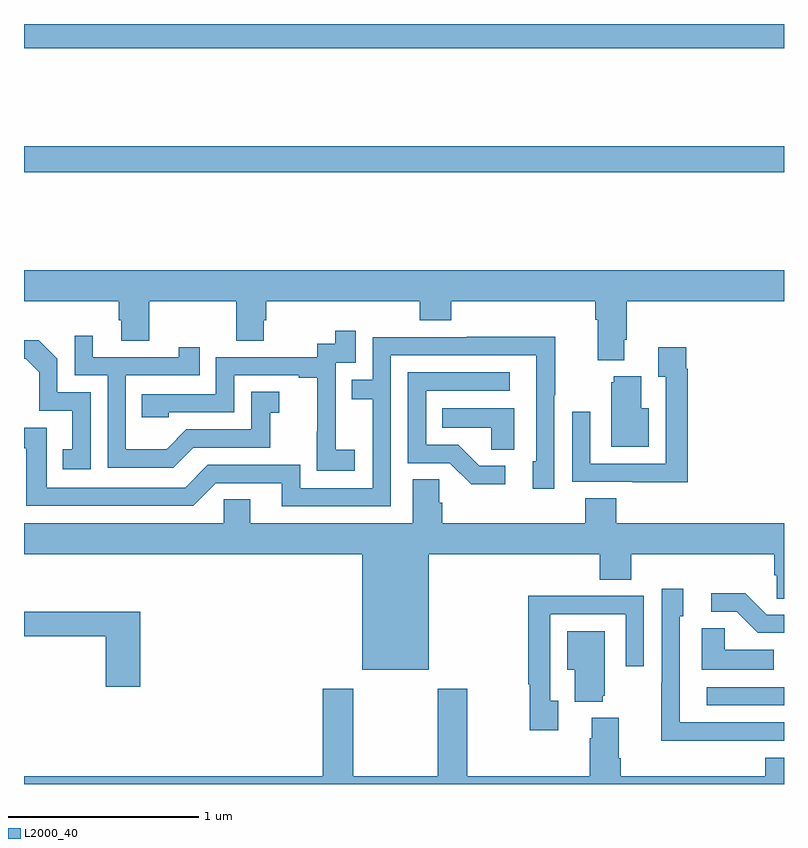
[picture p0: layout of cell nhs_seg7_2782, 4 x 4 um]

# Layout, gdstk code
import gdstk
lib = gdstk.Library(unit=1e-6, precision=1e-09)
def R(c, l, rs):  # rectangles x0, y0, x1, y1
    for r in rs: c.add(gdstk.rectangle(r[:2], r[2:], *l))
def P(c, l, *ps):  # polygons
    for p in ps: c.add(gdstk.Polygon(p, *l))
L2000_40 = (2000, 40)

nhs_seg7_2782 = lib.new_cell('nhs_seg7_2782')
R(nhs_seg7_2782, L2000_40, [(292.593,1074.414,293,1074.51), (289,1077.22,293,1077.356), (289,1077.872,293,1078)])
P(nhs_seg7_2782, L2000_40, [(292.159,1076.338),(292.172,1076.338),(292.172,1076.54),(293,1076.54),(293,1076.704),(289,1076.704),(289,1076.54),(289.499,1076.54),(289.499,1076.442),(289.511,1076.442),(289.511,1076.332),(289.659,1076.332),(289.659,1076.54),(290.116,1076.54),(290.116,1076.332),(290.263,1076.332),(290.263,1076.442),(290.276,1076.442),(290.276,1076.54),(291.083,1076.54),(291.083,1076.441),(291.248,1076.441),(291.248,1076.54),(292.007,1076.54),(292.007,1076.444),(292.019,1076.444),(292.019,1076.231),(292.159,1076.231)],
  [(290.74,1075.759),(290.642,1075.759),(290.642,1075.988),(290.64,1075.988),(290.64,1076.217),(290.745,1076.217),(290.745,1076.386),(290.637,1076.386),(290.637,1076.316),(290.544,1076.316),(290.544,1076.247),(290.01,1076.247),(290.01,1076.052),(289.621,1076.052),(289.621,1075.929),(289.761,1075.929),(289.761,1075.956),(290.106,1075.956),(290.106,1076.151),(290.447,1076.151),(290.447,1076.139),(290.543,1076.139),(290.543,1075.855),(290.542,1075.855),(290.542,1075.649),(290.74,1075.649)],
  [(289.891,1075.77),(290.295,1075.77),(290.295,1075.955),(290.344,1075.955),(290.344,1076.065),(290.196,1076.065),(290.196,1075.866),(289.854,1075.866),(289.75,1075.762),(289.536,1075.762),(289.536,1076.151),(289.925,1076.151),(289.925,1076.299),(289.814,1076.299),(289.814,1076.247),(289.363,1076.247),(289.363,1076.359),(289.266,1076.359),(289.266,1076.151),(289.44,1076.151),(289.44,1075.665),(289.786,1075.665)],
  [(290.931,1076.256),(291.696,1076.256),(291.696,1075.698),(291.677,1075.698),(291.677,1075.554),(291.792,1075.554),(291.792,1076.047),(291.795,1076.047),(291.795,1076.354),(291.331,1076.354),(291.331,1076.352),(290.835,1076.352),(290.835,1076.127),(290.725,1076.127),(290.725,1076.026),(290.835,1076.026),(290.835,1075.557),(290.454,1075.557),(290.454,1075.68),(289.968,1075.68),(289.848,1075.56),(289.119,1075.56),(289.119,1075.875),(289,1075.875),(289,1075.767),(289.011,1075.767),(289.011,1075.464),(289.89,1075.464),(290.01,1075.584),(290.357,1075.584),(290.357,1075.461),(290.931,1075.461)],
  [(289.35,1076.061),(289.176,1076.061),(289.176,1076.238),(289.078,1076.336),(289,1076.336),(289,1076.238),(289.008,1076.238),(289.08,1076.166),(289.08,1075.965),(289.253,1075.965),(289.253,1075.761),(289.204,1075.761),(289.204,1075.656),(289.35,1075.656)],
  [(292.493,1076.186),(292.486,1076.186),(292.486,1076.299),(292.337,1076.299),(292.337,1076.143),(292.377,1076.143),(292.377,1075.686),(291.981,1075.686),(291.981,1075.96),(291.885,1075.96),(291.885,1075.59),(292.201,1075.59),(292.201,1075.589),(292.493,1075.589)],
  [(291.532,1075.674),(291.397,1075.674),(291.286,1075.785),(291.117,1075.785),(291.117,1076.07),(291.556,1076.07),(291.556,1076.166),(291.021,1076.166),(291.021,1075.689),(291.24,1075.689),(291.353,1075.577),(291.532,1075.577)],
  [(292.288,1075.978),(292.249,1075.978),(292.249,1076.146),(292.103,1076.146),(292.103,1076.115),(292.091,1076.115),(292.091,1075.775),(292.288,1075.775)],
  [(291.58,1075.978),(291.202,1075.978),(291.202,1075.874),(291.459,1075.874),(291.459,1075.759),(291.58,1075.759)],
  [(292.031,1075.075),(292.196,1075.075),(292.196,1075.208),(292.949,1075.208),(292.949,1075.099),(292.962,1075.099),(292.962,1074.976),(293,1074.976),(293,1075.372),(292.118,1075.372),(292.118,1075.505),(291.953,1075.505),(291.953,1075.372),(291.2,1075.372),(291.2,1075.481),(291.186,1075.481),(291.186,1075.604),(291.047,1075.604),(291.047,1075.372),(290.191,1075.372),(290.191,1075.499),(290.052,1075.499),(290.052,1075.372),(289,1075.372),(289,1075.208),(290.78,1075.208),(290.78,1074.602),(291.13,1074.602),(291.13,1075.208),(292.031,1075.208)],
  [(292.817,1074.228),(293,1074.228),(293,1074.324),(292.452,1074.324),(292.452,1074.882),(292.471,1074.882),(292.471,1075.027),(292.356,1075.027),(292.356,1074.533),(292.354,1074.533),(292.354,1074.227),(292.817,1074.227)],
  [(293,1074.891),(292.908,1074.891),(292.795,1075.004),(292.617,1075.004),(292.617,1074.906),(292.751,1074.906),(292.862,1074.795),(293,1074.795)],
  [(291.811,1074.438),(291.771,1074.438),(291.771,1074.894),(292.167,1074.894),(292.167,1074.621),(292.263,1074.621),(292.263,1074.99),(291.947,1074.99),(291.947,1074.992),(291.655,1074.992),(291.655,1074.526),(291.663,1074.526),(291.663,1074.282),(291.811,1074.282)],
  [(289.613,1074.907),(289,1074.907),(289,1074.778),(289.43,1074.778),(289.43,1074.513),(289.613,1074.513)],
  [(292.946,1074.706),(292.689,1074.706),(292.689,1074.821),(292.568,1074.821),(292.568,1074.602),(292.946,1074.602)],
  [(292.046,1074.465),(292.057,1074.465),(292.057,1074.805),(291.86,1074.805),(291.86,1074.602),(291.899,1074.602),(291.899,1074.434),(292.046,1074.434)],
  [(293,1074.139),(292.901,1074.139),(292.901,1074.04),(292.142,1074.04),(292.142,1074.136),(292.129,1074.136),(292.129,1074.349),(291.989,1074.349),(291.989,1074.242),(291.977,1074.242),(291.977,1074.04),(291.333,1074.04),(291.333,1074.502),(291.178,1074.502),(291.178,1074.04),(290.733,1074.04),(290.733,1074.502),(290.573,1074.502),(290.573,1074.04),(289,1074.04),(289,1074),(293,1074)])

lib.write_gds('nhs_seg7_2782.gds')
